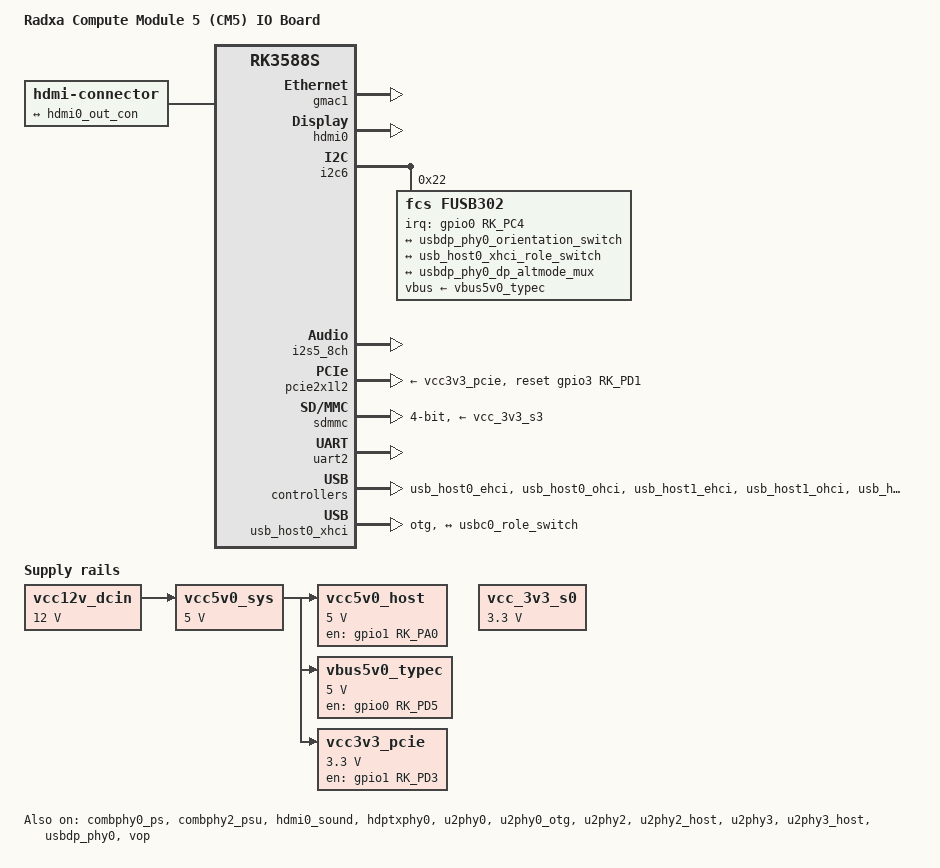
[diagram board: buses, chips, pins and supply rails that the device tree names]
// SPDX-License-Identifier: (GPL-2.0+ OR MIT)
/*
 * Copyright (c) 2025 Joseph Kogut <joseph.kogut@gmail.com>
 */

/*
 * CM5 IO board data sheet
 * https://dl.radxa.com/cm5/v2200/radxa_cm5_io_v2200_schematic.pdf
 */

/dts-v1/;
#include "rk3588s.dtsi"
#include "rk3588s-radxa-cm5.dtsi"

/ {
	model = "Radxa Compute Module 5 (CM5) IO Board";
	compatible = "radxa,cm5-io", "radxa,cm5", "rockchip,rk3588s";

	aliases {
		ethernet0 = &gmac1;
		mmc1 = &sdmmc;
	};

	chosen {
		stdout-path = "serial2:1500000n8";
	};

	hdmi-con {
		compatible = "hdmi-connector";
		type = "a";

		port {
			hdmi_con_in: endpoint {
				remote-endpoint = <&hdmi0_out_con>;
			};
		};
	};

	vcc12v_dcin: regulator-12v0-vcc-dcin {
		compatible = "regulator-fixed";
		regulator-name = "vcc12v_dcin";
		regulator-always-on;
		regulator-boot-on;
		regulator-min-microvolt = <12000000>;
		regulator-max-microvolt = <12000000>;
	};

	vcc5v0_host: vcc5v0-host-regulator {
		compatible = "regulator-fixed";
		regulator-name = "vcc5v0_host";
		regulator-boot-on;
		regulator-always-on;
		regulator-min-microvolt = <5000000>;
		regulator-max-microvolt = <5000000>;
		enable-active-high;
		gpio = <&gpio1 RK_PA0 GPIO_ACTIVE_HIGH>;
		pinctrl-names = "default";
		pinctrl-0 = <&vcc5v0_host_en>;
		vin-supply = <&vcc5v0_sys>;
	};

	vcc5v0_sys: regulator-5v0-sys {
		compatible = "regulator-fixed";
		regulator-name = "vcc5v0_sys";
		regulator-always-on;
		regulator-boot-on;
		regulator-min-microvolt = <5000000>;
		regulator-max-microvolt = <5000000>;
		vin-supply = <&vcc12v_dcin>;
	};

	vbus5v0_typec: vbus5v0-typec {
		compatible = "regulator-fixed";
		regulator-name = "vbus5v0_typec";
		gpio = <&gpio0 RK_PD5 GPIO_ACTIVE_HIGH>;
		pinctrl-names = "default";
		pinctrl-0 = <&vbus5v0_typec_en>;
		enable-active-high;
		regulator-min-microvolt = <5000000>;
		regulator-max-microvolt = <5000000>;
		vin-supply = <&vcc5v0_sys>;
	};

	vcc3v3_pcie: regulator-3v3-vcc-pcie {
		compatible = "regulator-fixed";
		regulator-name = "vcc3v3_pcie2x1l0";
		regulator-min-microvolt = <3300000>;
		regulator-max-microvolt = <3300000>;
		enable-active-high;
		gpios = <&gpio1 RK_PD3 GPIO_ACTIVE_HIGH>;
		startup-delay-us = <50000>;
		vin-supply = <&vcc5v0_sys>;
	};

	vcc_3v3_s0: pldo-reg4 {
		compatible = "regulator-fixed";
		regulator-name = "vcc_3v3_s0";
		regulator-always-on;
		regulator-boot-on;
		regulator-min-microvolt = <3300000>;
		regulator-max-microvolt = <3300000>;
		regulator-ramp-delay = <12500>;

		regulator-state-mem {
			regulator-off-in-suspend;
		};
	};
};

&combphy0_ps {
	status = "okay";
};

&combphy2_psu {
	status = "okay";
};

&gmac1 {
	status = "okay";
};

&hdmi0 {
	status = "okay";
};

&hdmi0_in {
	hdmi0_in_vp0: endpoint {
		remote-endpoint = <&vp0_out_hdmi0>;
	};
};

&hdmi0_out {
	hdmi0_out_con: endpoint {
		remote-endpoint = <&hdmi_con_in>;
	};
};

&hdmi0_sound {
	status = "okay";
};

&hdptxphy0 {
	status = "okay";
};

&i2c6 {
	pinctrl-names = "default";
	pinctrl-0 = <&i2c6m3_xfer>;
	status = "okay";

	fusb302: usb-typec@22 {
		compatible = "fcs,fusb302";
		reg = <0x22>;
		interrupt-parent = <&gpio0>;
		interrupts = <RK_PC4 IRQ_TYPE_LEVEL_LOW>;
		pinctrl-names = "default";
		pinctrl-0 = <&usbc0_int>;
		vbus-supply = <&vbus5v0_typec>;

		connector {
			compatible = "usb-c-connector";
			data-role = "dual";
			label = "USB-C";
			power-role = "dual";
			try-power-role = "sink";
			source-pdos = <PDO_FIXED(5000, 3000, PDO_FIXED_USB_COMM)>;
			sink-pdos = <PDO_FIXED(5000, 1000, PDO_FIXED_USB_COMM)>;
			op-sink-microwatt = <1000000>;

			ports {
				#address-cells = <1>;
				#size-cells = <0>;

				port@0 {
					reg = <0>;
					usbc0_orientation_switch: endpoint {
						remote-endpoint = <&usbdp_phy0_orientation_switch>;
					};
				};

				port@1 {
					reg = <1>;
					usbc0_role_switch: endpoint {
						remote-endpoint = <&usb_host0_xhci_role_switch>;
					};
				};

				port@2 {
					reg = <2>;
					usbc0_dp_altmode_mux: endpoint {
						remote-endpoint = <&usbdp_phy0_dp_altmode_mux>;
					};
				};
			};
		};
	};
};

&i2s5_8ch {
	status = "okay";
};

&pcie2x1l2 {
	reset-gpios = <&gpio3 RK_PD1 GPIO_ACTIVE_HIGH>;
	vpcie3v3-supply = <&vcc3v3_pcie>;
	status = "okay";
};

&pinctrl {
	fusb302 {
		vbus5v0_typec_en: vbus5v0-typec-en {
			rockchip,pins = <0 RK_PD5 RK_FUNC_GPIO &pcfg_pull_none>;
		};

		usbc0_int: usbc0-int {
			rockchip,pins = <0 RK_PC4 RK_FUNC_GPIO &pcfg_pull_up>;
		};
	};

	usb {
		vcc5v0_host_en: vcc5v0-host-en {
			rockchip,pins = <1 RK_PA0 RK_FUNC_GPIO &pcfg_pull_none>;
		};
	};
};

&sdmmc {
	bus-width = <4>;
	cap-mmc-highspeed;
	cap-sd-highspeed;
	disable-wp;
	no-sdio;
	sd-uhs-sdr104;
	pinctrl-names = "default";
	pinctrl-0 = <&sdmmc_bus4 &sdmmc_clk &sdmmc_cmd &sdmmc_det>;
	vmmc-supply = <&vcc_3v3_s3>;
	vqmmc-supply = <&vccio_sd_s0>;
	status = "okay";
};

&u2phy0 {
	status = "okay";
};

&u2phy0_otg {
	status = "okay";
};

&u2phy2 {
	status = "okay";
};

&u2phy2_host {
	status = "okay";
};

&u2phy3 {
	status = "okay";
};

&u2phy3_host {
	status = "okay";
};

&uart2 {
	pinctrl-names = "default";
	pinctrl-0 = <&uart2m0_xfer>;
	status = "okay";
};

&usb_host0_ehci {
	status = "okay";
};

&usb_host0_ohci {
	status = "okay";
};

&usb_host0_xhci {
	dr_mode = "otg";
	usb-role-switch;
	status = "okay";

	port {
		usb_host0_xhci_role_switch: endpoint {
			remote-endpoint = <&usbc0_role_switch>;
		};
	};
};

&usb_host1_ehci {
	status = "okay";
};

&usb_host1_ohci {
	status = "okay";
};

&usb_host2_xhci {
	status = "okay";
};

&usbdp_phy0 {
	mode-switch;
	orientation-switch;
	sbu1-dc-gpios = <&gpio3 RK_PC4 GPIO_ACTIVE_HIGH>;
	sbu2-dc-gpios = <&gpio3 RK_PD4 GPIO_ACTIVE_HIGH>;
	status = "okay";

	port {
		#address-cells = <1>;
		#size-cells = <0>;

		usbdp_phy0_orientation_switch: endpoint@0 {
			reg = <0>;
			remote-endpoint = <&usbc0_orientation_switch>;
		};

		usbdp_phy0_dp_altmode_mux: endpoint@1 {
			reg = <1>;
			remote-endpoint = <&usbc0_dp_altmode_mux>;
		};
	};
};

&vop {
	status = "okay";
};

&vop_mmu {
	status = "okay";
};

&vp0 {
	vp0_out_hdmi0: endpoint@ROCKCHIP_VOP2_EP_HDMI0 {
		reg = <ROCKCHIP_VOP2_EP_HDMI0>;
		remote-endpoint = <&hdmi0_in_vp0>;
	};
};
